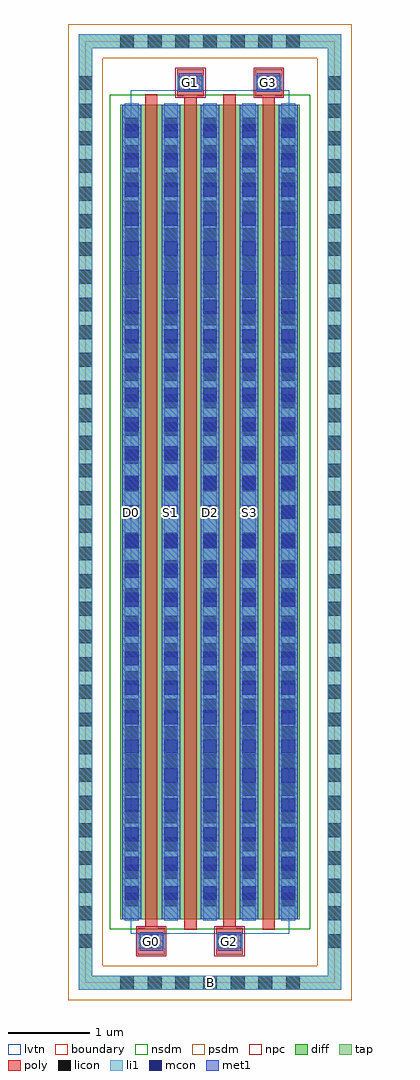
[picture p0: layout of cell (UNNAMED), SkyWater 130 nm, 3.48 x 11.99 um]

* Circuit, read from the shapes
.subckt (UNNAMED) B D0 D2 G0 G1 G2 G3 S1 S3
XM1 S1 G0 D0 B sky130_fd_pr__nfet_01v8_lvt w=10 l=0.15
XM2 D2 G1 S1 B sky130_fd_pr__nfet_01v8_lvt w=10 l=0.15
XM3 S3 G2 D2 B sky130_fd_pr__nfet_01v8_lvt w=10 l=0.15
XM4 n1 G3 S3 B sky130_fd_pr__nfet_01v8_lvt w=10 l=0.15
.ends

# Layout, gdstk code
import gdstk
lib = gdstk.Library(unit=1e-6, precision=1e-09)
def R(c, l, rs):  # rectangles x0, y0, x1, y1
    for r in rs: c.add(gdstk.rectangle(r[:2], r[2:], *l))
def A(c, l, x, y, w, h, nx, ny, dx, dy):  # array of equal rectangles
    R(c, l, [(x+i*dx, y+j*dy, x+i*dx+w, y+j*dy+h) for i in range(nx) for j in range(ny)])
diff = (65, 20)
tap = (65, 44)
poly = (66, 20)
licon = (66, 44)
li1 = (67, 20)
mcon = (67, 44)
met1 = (68, 20)
nsdm = (93, 44)
psdm = (94, 20)
npc = (95, 20)
lvtn = (125, 44)
boundary = (235, 4)

c__unnamed_ = lib.new_cell('(UNNAMED)')
R(c__unnamed_, diff, [(-1.105,-5,1.105,5)])
R(c__unnamed_, tap, [(-1.615,-5.87,1.615,-5.7), (-1.615,-5.7,-1.445,5.7), (1.445,-5.7,1.615,5.7), (-1.615,5.7,1.615,5.87)])
R(c__unnamed_, poly, [(-0.885,-5.44,-0.555,-5.11), (0.075,-5.44,0.405,-5.11), (-0.315,-5.13,-0.165,5.11), (0.645,-5.13,0.795,5.11), (-0.795,-5.11,-0.645,5.13), (0.165,-5.11,0.315,5.13), (-0.405,5.11,-0.075,5.44), (0.555,5.11,0.885,5.44)])
A(c__unnamed_, licon, -1.105, -5.87, 0.17, 0.17, 7, 2, 0.34, 11.57)
A(c__unnamed_, licon, -1.615, -5.355, 0.17, 0.17, 1, 32, 0, 0.34)
A(c__unnamed_, licon, 1.445, -5.355, 0.17, 0.17, 1, 32, 0, 0.34)
A(c__unnamed_, licon, -1.045, -4.845, 0.17, 0.17, 5, 29, 0.48, 0.34)
R(c__unnamed_, licon, [(-0.805,-5.36,-0.635,-5.19), (0.155,-5.36,0.325,-5.19), (-0.325,5.19,-0.155,5.36), (0.635,5.19,0.805,5.36)])
A(c__unnamed_, li1, -1.045, -5.02, 0.17, 10.04, 5, 1, 0.48, 0)
R(c__unnamed_, li1, [(-1.615,-5.87,1.615,-5.7), (-1.615,-5.7,-1.445,5.7), (1.445,-5.7,1.615,5.7), (-0.885,-5.36,-0.555,-5.19), (0.075,-5.36,0.405,-5.19), (-0.405,5.19,-0.075,5.36), (0.555,5.19,0.885,5.36), (-1.615,5.7,1.615,5.87)])
A(c__unnamed_, mcon, -1.045, -4.765, 0.17, 0.17, 5, 27, 0.48, 0.36)
R(c__unnamed_, mcon, [(-0.805,-5.36,-0.635,-5.19), (0.155,-5.36,0.325,-5.19), (-0.325,5.19,-0.155,5.36), (0.635,5.19,0.805,5.36)])
A(c__unnamed_, met1, -1.075, -5, 0.23, 10, 5, 1, 0.48, 0)
R(c__unnamed_, met1, [(-0.865,-5.39,-0.575,-5.16), (0.095,-5.39,0.385,-5.16), (-0.385,5.16,-0.095,5.39), (0.575,5.16,0.865,5.39)])
R(c__unnamed_, nsdm, [(-1.23,-5.125,1.23,5.125)])
R(c__unnamed_, psdm, [(-1.74,-5.995,1.74,-5.575), (-1.74,-5.575,-1.32,5.575), (1.32,-5.575,1.74,5.575), (-1.74,5.575,1.74,5.995)])
R(c__unnamed_, npc, [(-0.905,-5.46,-0.535,-5.09), (0.055,-5.46,0.425,-5.09), (-0.425,5.09,-0.055,5.46), (0.535,5.09,0.905,5.46)])
R(c__unnamed_, lvtn, [(-0.975,-5.18,0.975,5.18)])
R(c__unnamed_, boundary, [(-1.53,-5.785,1.53,5.785)])
c__unnamed_.add(gdstk.Label('B', (0,-5.785), layer=67, texttype=5))
c__unnamed_.add(gdstk.Label('D0', (-0.96,0), layer=67, texttype=5))
c__unnamed_.add(gdstk.Label('G0', (-0.72,-5.275), layer=67, texttype=5))
c__unnamed_.add(gdstk.Label('S1', (-0.48,0), layer=67, texttype=5))
c__unnamed_.add(gdstk.Label('G1', (-0.24,5.275), layer=67, texttype=5))
c__unnamed_.add(gdstk.Label('D2', (0,0), layer=67, texttype=5))
c__unnamed_.add(gdstk.Label('G2', (0.24,-5.275), layer=67, texttype=5))
c__unnamed_.add(gdstk.Label('S3', (0.48,0), layer=67, texttype=5))
c__unnamed_.add(gdstk.Label('G3', (0.72,5.275), layer=67, texttype=5))

lib.write_gds('_UNNAMED_.gds')
